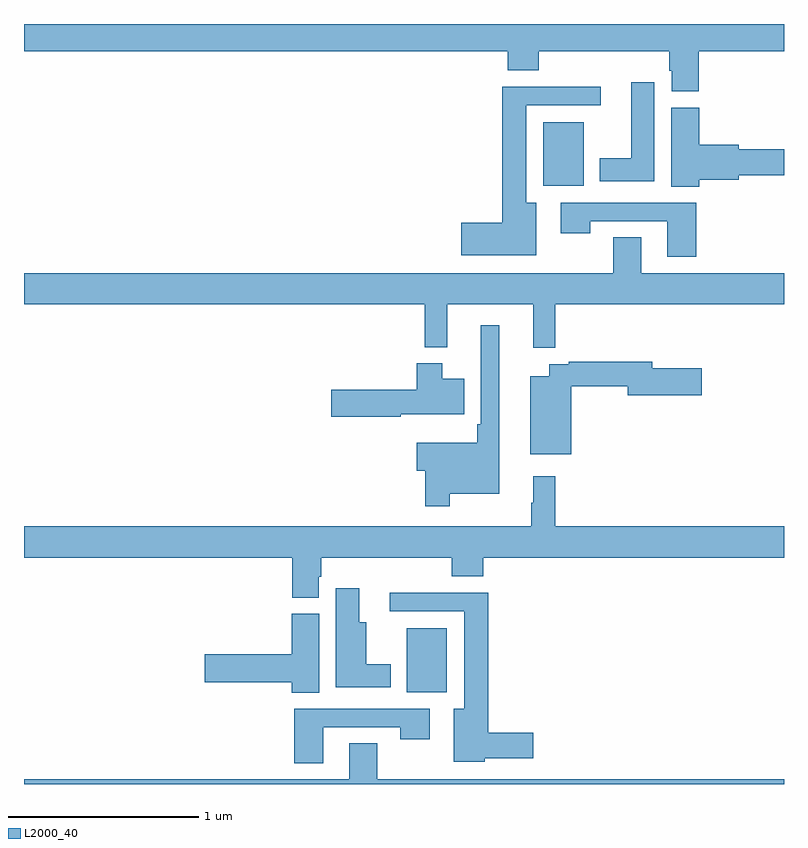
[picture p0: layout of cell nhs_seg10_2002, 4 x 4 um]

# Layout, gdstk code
import gdstk
lib = gdstk.Library(unit=1e-6, precision=1e-09)
def R(c, l, rs):  # rectangles x0, y0, x1, y1
    for r in rs: c.add(gdstk.rectangle(r[:2], r[2:], *l))
def P(c, l, *ps):  # polygons
    for p in ps: c.add(gdstk.Polygon(p, *l))
L2000_40 = (2000, 40)

nhs_seg10_2002 = lib.new_cell('nhs_seg10_2002')
R(nhs_seg10_2002, L2000_40, [(219.014,1256.984,219.226,1257.319), (219.734,1259.648,219.946,1259.983)])
P(nhs_seg10_2002, L2000_40, [(220.55,1260.356),(221,1260.356),(221,1260.5),(217,1260.5),(217,1260.356),(219.545,1260.356),(219.545,1260.257),(219.71,1260.257),(219.71,1260.356),(220.397,1260.356),(220.397,1260.255),(220.409,1260.255),(220.409,1260.145),(220.55,1260.145)],
  [(220.318,1260.193),(220.196,1260.193),(220.196,1259.794),(220.031,1259.794),(220.031,1259.672),(220.318,1259.672)],
  [(219.697,1259.56),(219.643,1259.56),(219.643,1260.072),(220.036,1260.072),(220.036,1260.17),(219.518,1260.17),(219.518,1259.453),(219.3,1259.453),(219.3,1259.282),(219.697,1259.282)],
  [(220.553,1259.681),(220.762,1259.681),(220.762,1259.704),(221,1259.704),(221,1259.84),(220.762,1259.84),(220.762,1259.864),(220.553,1259.864),(220.553,1260.06),(220.406,1260.06),(220.406,1259.644),(220.553,1259.644)],
  [(220.538,1259.559),(219.825,1259.559),(219.825,1259.4),(219.981,1259.4),(219.981,1259.463),(220.385,1259.463),(220.385,1259.274),(220.538,1259.274)],
  [(219.797,1259.024),(221,1259.024),(221,1259.188),(220.249,1259.188),(220.249,1259.378),(220.102,1259.378),(220.102,1259.188),(217,1259.188),(217,1259.024),(219.109,1259.024),(219.109,1258.799),(219.227,1258.799),(219.227,1259.024),(219.68,1259.024),(219.68,1258.795),(219.797,1258.795)],
  [(219.241,1258.028),(219.502,1258.028),(219.502,1258.915),(219.405,1258.915),(219.405,1258.393),(219.385,1258.393),(219.385,1258.297),(219.068,1258.297),(219.068,1258.15),(219.112,1258.15),(219.112,1257.963),(219.241,1257.963)],
  [(219.88,1258.594),(220.178,1258.594),(220.178,1258.547),(220.567,1258.547),(220.567,1258.689),(220.306,1258.689),(220.306,1258.723),(219.868,1258.723),(219.868,1258.71),(219.764,1258.71),(219.764,1258.645),(219.665,1258.645),(219.665,1258.235),(219.88,1258.235)],
  [(218.984,1258.445),(219.316,1258.445),(219.316,1258.633),(219.202,1258.633),(219.202,1258.714),(219.068,1258.714),(219.068,1258.575),(218.616,1258.575),(218.616,1258.433),(218.984,1258.433)],
  [(218.551,1257.591),(218.564,1257.591),(218.564,1257.692),(219.251,1257.692),(219.251,1257.593),(219.416,1257.593),(219.416,1257.692),(221,1257.692),(221,1257.856),(219.797,1257.856),(219.797,1258.12),(219.68,1258.12),(219.68,1257.98),(219.669,1257.98),(219.669,1257.856),(217,1257.856),(217,1257.692),(218.411,1257.692),(218.411,1257.481),(218.551,1257.481)],
  [(218.929,1257.13),(218.8,1257.13),(218.8,1257.352),(218.764,1257.352),(218.764,1257.529),(218.642,1257.529),(218.642,1257.008),(218.929,1257.008)],
  [(219.426,1256.636),(219.679,1256.636),(219.679,1256.771),(219.443,1256.771),(219.443,1257.506),(218.925,1257.506),(218.925,1257.408),(219.317,1257.408),(219.317,1256.896),(219.263,1256.896),(219.263,1256.618),(219.426,1256.618)],
  [(218.554,1257.396),(218.408,1257.396),(218.408,1257.182),(217.95,1257.182),(217.95,1257.035),(218.408,1257.035),(218.408,1256.98),(218.554,1256.98)],
  [(218.575,1256.799),(218.98,1256.799),(218.98,1256.736),(219.136,1256.736),(219.136,1256.895),(218.423,1256.895),(218.423,1256.61),(218.575,1256.61)],
  [(221,1256.524),(218.859,1256.524),(218.859,1256.714),(218.711,1256.714),(218.711,1256.524),(217,1256.524),(217,1256.5),(221,1256.5)])

lib.write_gds('nhs_seg10_2002.gds')
